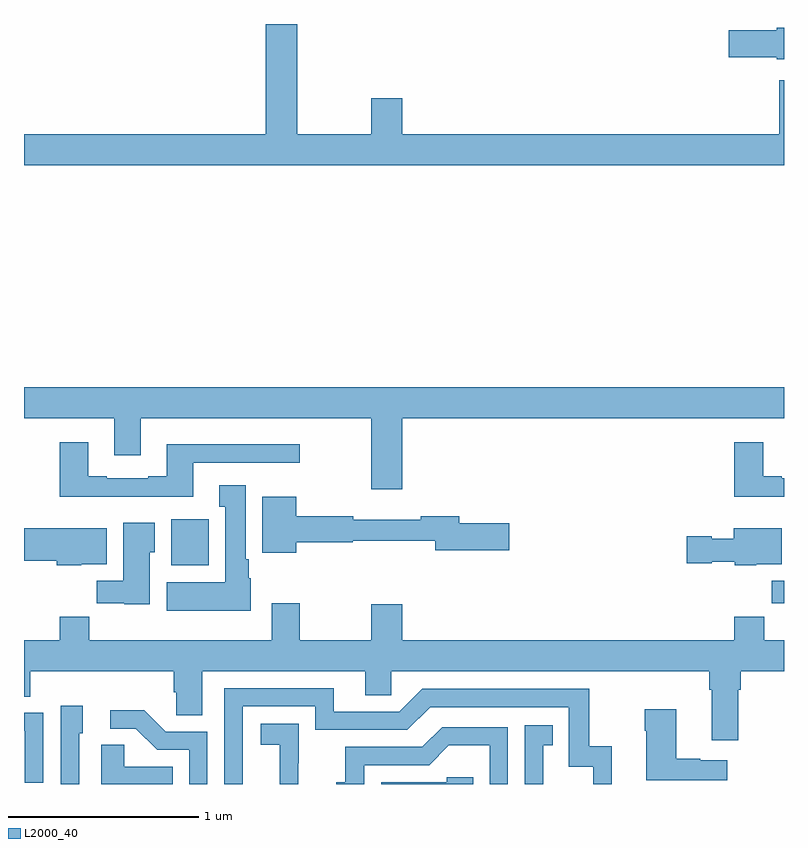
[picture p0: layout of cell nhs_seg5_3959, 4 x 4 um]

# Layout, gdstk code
import gdstk
lib = gdstk.Library(unit=1e-6, precision=1e-09)
def R(c, l, rs):  # rectangles x0, y0, x1, y1
    for r in rs: c.add(gdstk.rectangle(r[:2], r[2:], *l))
def P(c, l, *ps):  # polygons
    for p in ps: c.add(gdstk.Polygon(p, *l))
L2000_40 = (2000, 40)

nhs_seg5_3959 = lib.new_cell('nhs_seg5_3959')
R(nhs_seg5_3959, L2000_40, [(346.936,891.75,347,891.868), (343.775,891.95,343.972,892.192)])
P(nhs_seg5_3959, L2000_40, [(347,894.502),(346.974,894.502),(346.974,894.22),(344.992,894.22),(344.992,894.409),(344.828,894.409),(344.828,894.22),(344.437,894.22),(344.437,894.799),(344.273,894.799),(344.273,894.22),(343,894.22),(343,894.056),(347,894.056)],
  [(347,894.778),(346.962,894.778),(346.962,894.767),(346.71,894.767),(346.71,894.625),(346.962,894.625),(346.962,894.614),(347,894.614)],
  [(344.992,892.724),(347,892.724),(347,892.888),(343,892.888),(343,892.724),(343.475,892.724),(343.475,892.53),(343.615,892.53),(343.615,892.724),(344.828,892.724),(344.828,892.35),(344.992,892.35)],
  [(343.891,892.491),(344.452,892.491),(344.452,892.588),(343.751,892.588),(343.751,892.42),(343.655,892.42),(343.655,892.407),(343.435,892.407),(343.435,892.42),(343.339,892.42),(343.339,892.597),(343.187,892.597),(343.187,892.31),(343.891,892.31)],
  [(347,892.407),(346.987,892.407),(346.987,892.42),(346.891,892.42),(346.891,892.597),(346.739,892.597),(346.739,892.31),(347,892.31)],
  [(344.194,891.882),(344.182,891.882),(344.182,891.982),(344.167,891.982),(344.167,892.372),(344.027,892.372),(344.027,892.259),(344.06,892.259),(344.06,891.862),(343.751,891.862),(343.751,891.71),(344.194,891.71)],
  [(344.434,892.072),(344.73,892.072),(344.73,892.08),(345.164,892.08),(345.164,892.03),(345.553,892.03),(345.553,892.172),(345.292,892.172),(345.292,892.208),(345.088,892.208),(345.088,892.189),(344.732,892.189),(344.732,892.208),(344.434,892.208),(344.434,892.312),(344.255,892.312),(344.255,892.016),(344.434,892.016)],
  [(343.663,892.02),(343.687,892.02),(343.687,892.174),(343.523,892.174),(343.523,891.868),(343.384,891.868),(343.384,891.75),(343.527,891.75),(343.527,891.746),(343.663,891.746)],
  [(343.302,891.956),(343.435,891.956),(343.435,892.144),(343.188,892.144),(343.188,892.145),(343,892.145),(343,891.973),(343.172,891.973),(343.172,891.95),(343.302,891.95)],
  [(346.854,891.956),(346.987,891.956),(346.987,892.144),(346.736,892.144),(346.736,892.09),(346.62,892.09),(346.62,892.103),(346.488,892.103),(346.488,891.961),(346.62,891.961),(346.62,891.968),(346.74,891.968),(346.74,891.95),(346.854,891.95)],
  [(346.759,891.296),(346.772,891.296),(346.772,891.392),(347,891.392),(347,891.556),(346.895,891.556),(346.895,891.68),(346.739,891.68),(346.739,891.556),(344.992,891.556),(344.992,891.745),(344.828,891.745),(344.828,891.556),(344.451,891.556),(344.451,891.751),(344.303,891.751),(344.303,891.556),(343.343,891.556),(343.343,891.68),(343.187,891.68),(343.187,891.556),(343,891.556),(343,891.259),(343.034,891.259),(343.034,891.392),(343.787,891.392),(343.787,891.283),(343.8,891.283),(343.8,891.16),(343.939,891.16),(343.939,891.392),(344.795,891.392),(344.795,891.265),(344.934,891.265),(344.934,891.392),(346.607,891.392),(346.607,891.296),(346.619,891.296),(346.619,891.03),(346.759,891.03)],
  [(344.151,891.207),(344.532,891.207),(344.532,891.084),(345.018,891.084),(345.138,891.204),(345.867,891.204),(345.867,890.889),(345.996,890.889),(345.996,890.799),(346.094,890.799),(346.094,890.998),(345.976,890.998),(345.976,891.3),(345.096,891.3),(344.976,891.18),(344.629,891.18),(344.629,891.303),(344.055,891.303),(344.055,890.799),(344.151,890.799)],
  [(343.29,891.066),(343.309,891.066),(343.309,891.211),(343.194,891.211),(343.194,890.799),(343.29,890.799)],
  [(346.702,890.923),(346.559,890.923),(346.559,890.933),(346.432,890.933),(346.432,891.193),(346.267,891.193),(346.267,891.08),(346.274,891.08),(346.274,890.819),(346.702,890.819)],
  [(343.965,891.075),(343.746,891.075),(343.633,891.188),(343.455,891.188),(343.455,891.09),(343.589,891.09),(343.7,890.979),(343.869,890.979),(343.869,890.799),(343.965,890.799)],
  [(343.101,891.174),(343,891.174),(343,891.078),(343.005,891.078),(343.005,890.805),(343.101,890.805)],
  [(344.444,890.909),(344.445,890.909),(344.445,891.115),(344.247,891.115),(344.247,891.005),(344.345,891.005),(344.345,890.799),(344.444,890.799)],
  [(345.733,891.003),(345.782,891.003),(345.782,891.109),(345.636,891.109),(345.636,890.799),(345.733,890.799)],
  [(344.79,890.898),(345.132,890.898),(345.236,891.002),(345.45,891.002),(345.45,890.799),(345.546,890.799),(345.546,891.099),(345.2,891.099),(345.095,890.994),(344.692,890.994),(344.692,890.809),(344.643,890.809),(344.643,890.799),(344.79,890.799)],
  [(343.784,890.89),(343.527,890.89),(343.527,891.005),(343.406,891.005),(343.406,890.799),(343.784,890.799)],
  [(345.365,890.835),(345.225,890.835),(345.225,890.808),(344.88,890.808),(344.88,890.799),(345.365,890.799)])

lib.write_gds('nhs_seg5_3959.gds')
